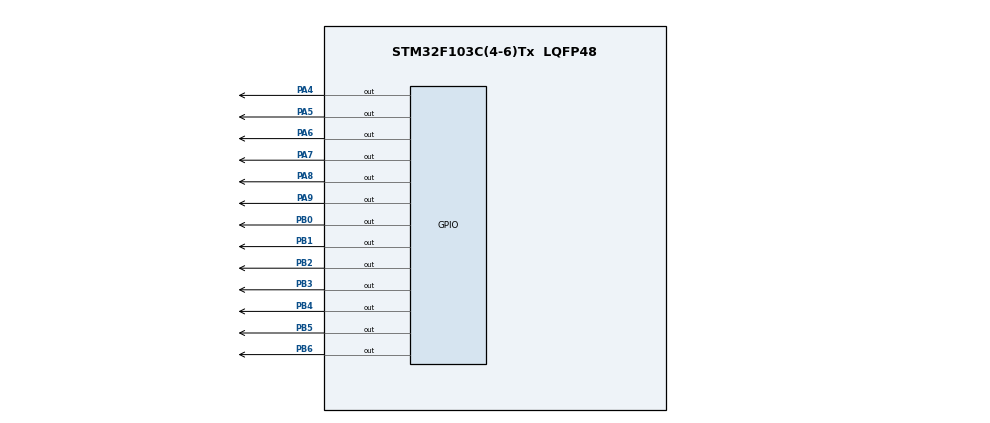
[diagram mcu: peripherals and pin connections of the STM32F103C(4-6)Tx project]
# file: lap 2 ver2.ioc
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Mcu.Family=STM32F1
Mcu.Name=STM32F103C(4-6)Tx
Mcu.Package=LQFP48
NVIC.PriorityGroup=NVIC_PRIORITYGROUP_4
NVIC.TIM2_IRQn=true\:0\:0\:false\:false\:true\:true\:true
PA4.Signal=GPIO_Output
PA5.Signal=GPIO_Output
PA6.Signal=GPIO_Output
PA7.Signal=GPIO_Output
PA8.Signal=GPIO_Output
PA9.Signal=GPIO_Output
PB0.Signal=GPIO_Output
PB1.Signal=GPIO_Output
PB2.Signal=GPIO_Output
PB3.Signal=GPIO_Output
PB4.Signal=GPIO_Output
PB5.Signal=GPIO_Output
PB6.Signal=GPIO_Output
ProjectManager.HeapSize=0x200
ProjectManager.StackSize=0x400
ProjectManager.TargetToolchain=STM32CubeIDE
RCC.APB1Freq_Value=8000000
RCC.APB2Freq_Value=8000000
TIM2.Period=9
TIM2.Prescaler=7999
VP_SYS_VS_ND.Mode=No_Debug
VP_TIM2_VS_ClockSourceINT.Mode=Internal
board=custom

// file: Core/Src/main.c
/* USER CODE BEGIN Header */
/**
  ******************************************************************************
  * @file           : main.c
  * @brief          : Main program body
  ******************************************************************************
  * @attention
  *
  * <h2><center>&copy; Copyright (c) 2021 STMicroelectronics.
  * All rights reserved.</center></h2>
  *
  * This software component is licensed by ST under BSD 3-Clause license,
  * the "License"; You may not use this file except in compliance with the
  * License. You may obtain a copy of the License at:
  *                        opensource.org/licenses/BSD-3-Clause
  *
  ******************************************************************************
  */
/* USER CODE END Header */
#include "main.h"

TIM_HandleTypeDef htim2;

void SystemClock_Config(void);
static void MX_GPIO_Init(void);
static void MX_TIM2_Init(void);

int main(void)
{

  /* MCU Configuration--------------------------------------------------------*/

  /* Reset of all peripherals, Initializes the Flash interface and the Systick. */
  HAL_Init();

  /* Configure the system clock */
  SystemClock_Config();

  /* Initialize all configured peripherals */
  MX_GPIO_Init();
  MX_TIM2_Init();
  /* USER CODE BEGIN 2 */
  HAL_TIM_Base_Start_IT(&htim2);
  /* USER CODE END 2 */

  /* Infinite loop */
  while (1)
  {

  }
}
void display7SEG(int num){
	switch(num){
	case(0):
			HAL_GPIO_WritePin(GPIOB, GPIO_PIN_0, RESET);
			HAL_GPIO_WritePin(GPIOB, GPIO_PIN_1, RESET);
			HAL_GPIO_WritePin(GPIOB, GPIO_PIN_2, RESET);
			HAL_GPIO_WritePin(GPIOB, GPIO_PIN_3, RESET);
			HAL_GPIO_WritePin(GPIOB, GPIO_PIN_4, RESET);
			HAL_GPIO_WritePin(GPIOB, GPIO_PIN_5, RESET);
			HAL_GPIO_WritePin(GPIOB, GPIO_PIN_6, SET);
			break;
	case(1):
			HAL_GPIO_WritePin(GPIOB, GPIO_PIN_0, SET);
			HAL_GPIO_WritePin(GPIOB, GPIO_PIN_1, RESET);
			HAL_GPIO_WritePin(GPIOB, GPIO_PIN_2, RESET);
			HAL_GPIO_WritePin(GPIOB, GPIO_PIN_3, SET);
			HAL_GPIO_WritePin(GPIOB, GPIO_PIN_4, SET);
			HAL_GPIO_WritePin(GPIOB, GPIO_PIN_5, SET);
			HAL_GPIO_WritePin(GPIOB, GPIO_PIN_6, SET);
			break;
	case(2):
			HAL_GPIO_WritePin(GPIOB, GPIO_PIN_0, RESET);
			HAL_GPIO_WritePin(GPIOB, GPIO_PIN_1, RESET);
			HAL_GPIO_WritePin(GPIOB, GPIO_PIN_2, SET);
			HAL_GPIO_WritePin(GPIOB, GPIO_PIN_3, RESET);
			HAL_GPIO_WritePin(GPIOB, GPIO_PIN_4, RESET);
			HAL_GPIO_WritePin(GPIOB, GPIO_PIN_5, SET);
			HAL_GPIO_WritePin(GPIOB, GPIO_PIN_6, RESET);
			break;
	case(3):
			HAL_GPIO_WritePin(GPIOB, GPIO_PIN_0, RESET);
			HAL_GPIO_WritePin(GPIOB, GPIO_PIN_1, RESET);
			HAL_GPIO_WritePin(GPIOB, GPIO_PIN_2, RESET);
			HAL_GPIO_WritePin(GPIOB, GPIO_PIN_3, RESET);
			HAL_GPIO_WritePin(GPIOB, GPIO_PIN_4, SET);
			HAL_GPIO_WritePin(GPIOB, GPIO_PIN_5, SET);
			HAL_GPIO_WritePin(GPIOB, GPIO_PIN_6, RESET);
			break;
	case(4):
			HAL_GPIO_WritePin(GPIOB, GPIO_PIN_0, SET);
			HAL_GPIO_WritePin(GPIOB, GPIO_PIN_1, RESET);
			HAL_GPIO_WritePin(GPIOB, GPIO_PIN_2, RESET);
			HAL_GPIO_WritePin(GPIOB, GPIO_PIN_3, SET);
			HAL_GPIO_WritePin(GPIOB, GPIO_PIN_4, SET);
			HAL_GPIO_WritePin(GPIOB, GPIO_PIN_5, RESET);
			HAL_GPIO_WritePin(GPIOB, GPIO_PIN_6, RESET);
			break;
	case(5):
			HAL_GPIO_WritePin(GPIOB, GPIO_PIN_0, RESET);
			HAL_GPIO_WritePin(GPIOB, GPIO_PIN_1, SET);
			HAL_GPIO_WritePin(GPIOB, GPIO_PIN_2, RESET);
			HAL_GPIO_WritePin(GPIOB, GPIO_PIN_3, RESET);
			HAL_GPIO_WritePin(GPIOB, GPIO_PIN_4, SET);
			HAL_GPIO_WritePin(GPIOB, GPIO_PIN_5, RESET);
			HAL_GPIO_WritePin(GPIOB, GPIO_PIN_6, RESET);
			break;
	case(6):
			HAL_GPIO_WritePin(GPIOB, GPIO_PIN_0, RESET);
			HAL_GPIO_WritePin(GPIOB, GPIO_PIN_1, SET);
			HAL_GPIO_WritePin(GPIOB, GPIO_PIN_2, RESET);
			HAL_GPIO_WritePin(GPIOB, GPIO_PIN_3, RESET);
			HAL_GPIO_WritePin(GPIOB, GPIO_PIN_4, RESET);
			HAL_GPIO_WritePin(GPIOB, GPIO_PIN_5, RESET);
			HAL_GPIO_WritePin(GPIOB, GPIO_PIN_6, RESET);
			break;
	case(7):
			HAL_GPIO_WritePin(GPIOB, GPIO_PIN_0, RESET);
			HAL_GPIO_WritePin(GPIOB, GPIO_PIN_1, RESET);
			HAL_GPIO_WritePin(GPIOB, GPIO_PIN_2, RESET);
			HAL_GPIO_WritePin(GPIOB, GPIO_PIN_3, SET);
			HAL_GPIO_WritePin(GPIOB, GPIO_PIN_4, SET);
			HAL_GPIO_WritePin(GPIOB, GPIO_PIN_5, SET);
			HAL_GPIO_WritePin(GPIOB, GPIO_PIN_6, SET);
			break;
	case(8):
			HAL_GPIO_WritePin(GPIOB, GPIO_PIN_0, RESET);
			HAL_GPIO_WritePin(GPIOB, GPIO_PIN_1, RESET);
			HAL_GPIO_WritePin(GPIOB, GPIO_PIN_2, RESET);
			HAL_GPIO_WritePin(GPIOB, GPIO_PIN_3, RESET);
			HAL_GPIO_WritePin(GPIOB, GPIO_PIN_4, RESET);
			HAL_GPIO_WritePin(GPIOB, GPIO_PIN_5, RESET);
			HAL_GPIO_WritePin(GPIOB, GPIO_PIN_6, RESET);
			break;
	case(9):
			HAL_GPIO_WritePin(GPIOB, GPIO_PIN_0, RESET);
			HAL_GPIO_WritePin(GPIOB, GPIO_PIN_1, RESET);
			HAL_GPIO_WritePin(GPIOB, GPIO_PIN_2, RESET);
			HAL_GPIO_WritePin(GPIOB, GPIO_PIN_3, RESET);
			HAL_GPIO_WritePin(GPIOB, GPIO_PIN_4, SET);
			HAL_GPIO_WritePin(GPIOB, GPIO_PIN_5, RESET);
			HAL_GPIO_WritePin(GPIOB, GPIO_PIN_6, RESET);
			break;
	default:
			HAL_GPIO_WritePin(GPIOB, GPIO_PIN_0, SET);
			HAL_GPIO_WritePin(GPIOB, GPIO_PIN_1, SET);
			HAL_GPIO_WritePin(GPIOB, GPIO_PIN_2, SET);
			HAL_GPIO_WritePin(GPIOB, GPIO_PIN_3, SET);
			HAL_GPIO_WritePin(GPIOB, GPIO_PIN_4, SET);
			HAL_GPIO_WritePin(GPIOB, GPIO_PIN_5, SET);
			HAL_GPIO_WritePin(GPIOB, GPIO_PIN_6, SET);
			break;
	}
}
void SystemClock_Config(void)
{
  RCC_OscInitTypeDef RCC_OscInitStruct = {0};
  RCC_ClkInitTypeDef RCC_ClkInitStruct = {0};

  /** Initializes the RCC Oscillators according to the specified parameters
  * in the RCC_OscInitTypeDef structure.
  */
  RCC_OscInitStruct.OscillatorType = RCC_OSCILLATORTYPE_HSI;
  RCC_OscInitStruct.HSIState = RCC_HSI_ON;
  RCC_OscInitStruct.HSICalibrationValue = RCC_HSICALIBRATION_DEFAULT;
  RCC_OscInitStruct.PLL.PLLState = RCC_PLL_NONE;
  if (HAL_RCC_OscConfig(&RCC_OscInitStruct) != HAL_OK)
  {
    Error_Handler();
  }
  /** Initializes the CPU, AHB and APB buses clocks
  */
  RCC_ClkInitStruct.ClockType = RCC_CLOCKTYPE_HCLK|RCC_CLOCKTYPE_SYSCLK
                              |RCC_CLOCKTYPE_PCLK1|RCC_CLOCKTYPE_PCLK2;
  RCC_ClkInitStruct.SYSCLKSource = RCC_SYSCLKSOURCE_HSI;
  RCC_ClkInitStruct.AHBCLKDivider = RCC_SYSCLK_DIV1;
  RCC_ClkInitStruct.APB1CLKDivider = RCC_HCLK_DIV1;
  RCC_ClkInitStruct.APB2CLKDivider = RCC_HCLK_DIV1;

  if (HAL_RCC_ClockConfig(&RCC_ClkInitStruct, FLASH_LATENCY_0) != HAL_OK)
  {
    Error_Handler();
  }
}

static void MX_TIM2_Init(void)
{

  TIM_ClockConfigTypeDef sClockSourceConfig = {0};
  TIM_MasterConfigTypeDef sMasterConfig = {0};

  htim2.Instance = TIM2;
  htim2.Init.Prescaler = 7999;
  htim2.Init.CounterMode = TIM_COUNTERMODE_UP;
  htim2.Init.Period = 9;
  htim2.Init.ClockDivision = TIM_CLOCKDIVISION_DIV1;
  htim2.Init.AutoReloadPreload = TIM_AUTORELOAD_PRELOAD_DISABLE;
  if (HAL_TIM_Base_Init(&htim2) != HAL_OK)
  {
    Error_Handler();
  }
  sClockSourceConfig.ClockSource = TIM_CLOCKSOURCE_INTERNAL;
  if (HAL_TIM_ConfigClockSource(&htim2, &sClockSourceConfig) != HAL_OK)
  {
    Error_Handler();
  }
  sMasterConfig.MasterOutputTrigger = TIM_TRGO_RESET;
  sMasterConfig.MasterSlaveMode = TIM_MASTERSLAVEMODE_DISABLE;
  if (HAL_TIMEx_MasterConfigSynchronization(&htim2, &sMasterConfig) != HAL_OK)
  {
    Error_Handler();
  }

}

static void MX_GPIO_Init(void)
{
  GPIO_InitTypeDef GPIO_InitStruct = {0};

  /* GPIO Ports Clock Enable */
  __HAL_RCC_GPIOA_CLK_ENABLE();
  __HAL_RCC_GPIOB_CLK_ENABLE();

  /*Configure GPIO pin Output Level */
  HAL_GPIO_WritePin(GPIOA, GPIO_PIN_4|GPIO_PIN_5|GPIO_PIN_6|GPIO_PIN_7
                          |GPIO_PIN_8|GPIO_PIN_9, GPIO_PIN_RESET);

  /*Configure GPIO pin Output Level */
  HAL_GPIO_WritePin(GPIOB, GPIO_PIN_0|GPIO_PIN_1|GPIO_PIN_2|GPIO_PIN_3
                          |GPIO_PIN_4|GPIO_PIN_5|GPIO_PIN_6, GPIO_PIN_RESET);

  /*Configure GPIO pins : PA4 PA5 PA6 PA7
                           PA8 PA9 */
  GPIO_InitStruct.Pin = GPIO_PIN_4|GPIO_PIN_5|GPIO_PIN_6|GPIO_PIN_7
                          |GPIO_PIN_8|GPIO_PIN_9;
  GPIO_InitStruct.Mode = GPIO_MODE_OUTPUT_PP;
  GPIO_InitStruct.Pull = GPIO_NOPULL;
  GPIO_InitStruct.Speed = GPIO_SPEED_FREQ_LOW;
  HAL_GPIO_Init(GPIOA, &GPIO_InitStruct);

  /*Configure GPIO pins : PB0 PB1 PB2 PB3
                           PB4 PB5 PB6 */
  GPIO_InitStruct.Pin = GPIO_PIN_0|GPIO_PIN_1|GPIO_PIN_2|GPIO_PIN_3
                          |GPIO_PIN_4|GPIO_PIN_5|GPIO_PIN_6;
  GPIO_InitStruct.Mode = GPIO_MODE_OUTPUT_PP;
  GPIO_InitStruct.Pull = GPIO_NOPULL;
  GPIO_InitStruct.Speed = GPIO_SPEED_FREQ_LOW;
  HAL_GPIO_Init(GPIOB, &GPIO_InitStruct);

}

/* USER CODE BEGIN 4 */
int led_buffer[4] = {1,2,3,0};
void update7SEG(int index){
	int value = led_buffer[index];
	display7SEG(value);

	switch(index){
	case(0):	// first 7SEG on
			HAL_GPIO_WritePin(GPIOA, GPIO_PIN_6, RESET);
			HAL_GPIO_WritePin(GPIOA, GPIO_PIN_7, SET);
			HAL_GPIO_WritePin(GPIOA, GPIO_PIN_8, SET);
			HAL_GPIO_WritePin(GPIOA, GPIO_PIN_9, SET);
			break;
	case(1):	// second 7SEG on
			HAL_GPIO_WritePin(GPIOA, GPIO_PIN_6, SET);
			HAL_GPIO_WritePin(GPIOA, GPIO_PIN_7, RESET);
			HAL_GPIO_WritePin(GPIOA, GPIO_PIN_8, SET);
			HAL_GPIO_WritePin(GPIOA, GPIO_PIN_9, SET);
			break;
	case(2):	// third 7SEG on
			HAL_GPIO_WritePin(GPIOA, GPIO_PIN_6, SET);
			HAL_GPIO_WritePin(GPIOA, GPIO_PIN_7, SET);
			HAL_GPIO_WritePin(GPIOA, GPIO_PIN_8, RESET);
			HAL_GPIO_WritePin(GPIOA, GPIO_PIN_9, SET);
			break;
	case(3):	// last 7SEG on
			HAL_GPIO_WritePin(GPIOA, GPIO_PIN_6, SET);
			HAL_GPIO_WritePin(GPIOA, GPIO_PIN_7, SET);
			HAL_GPIO_WritePin(GPIOA, GPIO_PIN_8, SET);
			HAL_GPIO_WritePin(GPIOA, GPIO_PIN_9, RESET);
			break;
	default:
			HAL_GPIO_WritePin(GPIOA, GPIO_PIN_6, SET);
			HAL_GPIO_WritePin(GPIOA, GPIO_PIN_7, SET);
			HAL_GPIO_WritePin(GPIOA, GPIO_PIN_8, SET);
			HAL_GPIO_WritePin(GPIOA, GPIO_PIN_9, SET);
			break;
	}
}

int counter = 0;
int index_led = 0;
const int MAX_LED = 4;
void HAL_TIM_PeriodElapsedCallback(TIM_HandleTypeDef *htim){
	if(counter >= 50){
		counter = 0;
		update7SEG(index_led++);

		if(index_led == MAX_LED) index_led = 0;
	}
	counter ++;
}
/* USER CODE END 4 */

void Error_Handler(void)
{
  __disable_irq();
  while (1)
  {
  }
}

/************************ (C) COPYRIGHT STMicroelectronics *****END OF FILE****/
